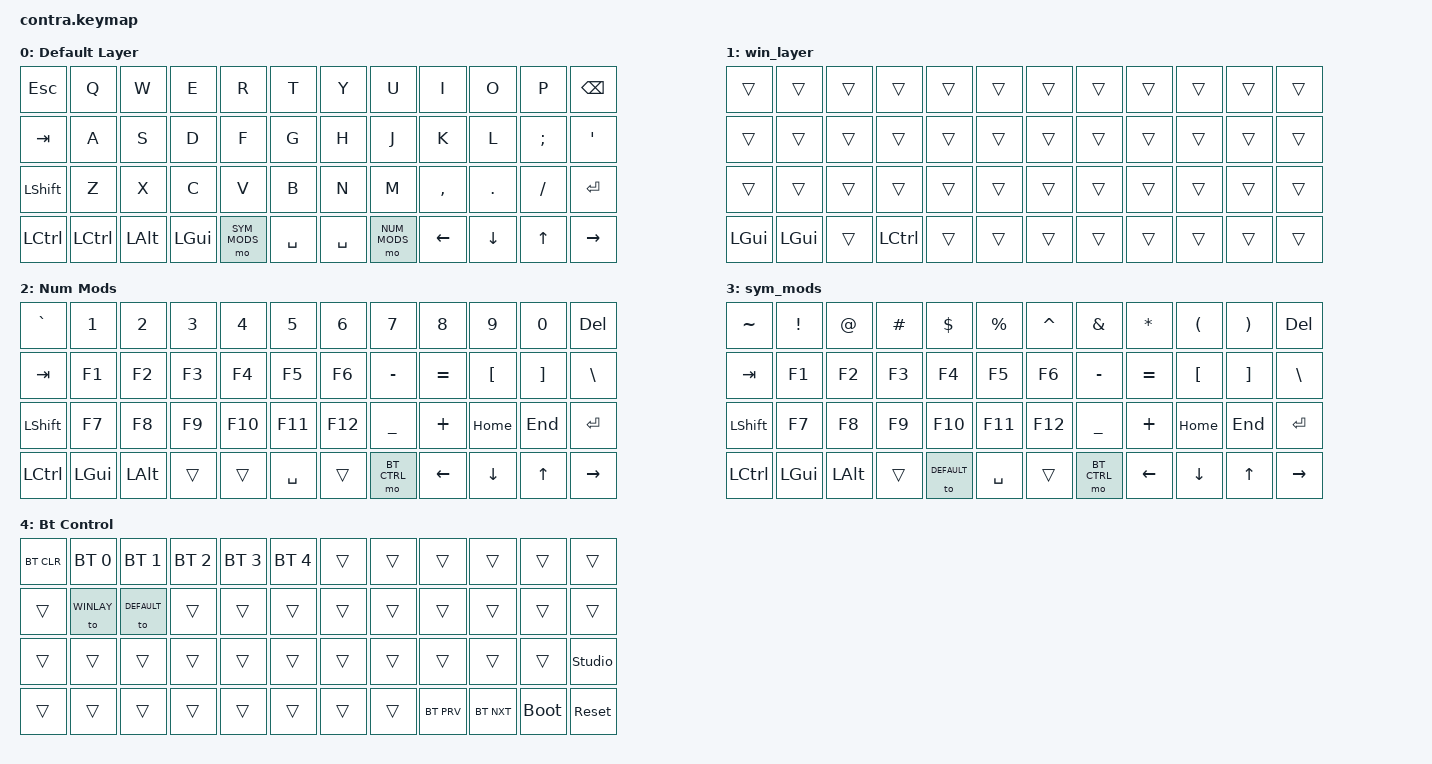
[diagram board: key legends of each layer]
/*
 * Copyright (c) 2021 The ZMK Contributors
 *
 * SPDX-License-Identifier: MIT
 */

#include <behaviors.dtsi>
#include <dt-bindings/zmk/keys.h>
#include <dt-bindings/zmk/bt.h>

#define DEFAULT  0
#define WINLAY   1
#define NUM_MODS 2
#define SYM_MODS 3
#define BT_CTRL  4

/ {
    keymap {
        compatible = "zmk,keymap";

        default_layer {
            display-name = "Default Layer";
            bindings = <
    &kp ESC   &kp Q     &kp W    &kp E     &kp R       &kp T      &kp Y     &kp U        &kp I     &kp O     &kp P    &kp BSPC
    &kp TAB   &kp A     &kp S    &kp D     &kp F       &kp G      &kp H     &kp J        &kp K     &kp L     &kp SEMI &kp SQT
    &kp LSHFT &kp Z     &kp X    &kp C     &kp V       &kp B      &kp N     &kp M        &kp COMMA &kp DOT   &kp FSLH &kp ENTER
    &kp LCTRL &kp LCTRL  &kp LALT &kp LGUI  &mo SYM_MODS &kp SPACE  &kp SPACE  &mo NUM_MODS &kp LEFT  &kp DOWN &kp UP  &kp RIGHT  
            >;
        };

        win_layer {
            bindings = <
    &trans     &trans       &trans       &trans       &trans       &trans       &trans    &trans    &trans     &trans     &trans   &trans
    &trans     &trans       &trans       &trans       &trans       &trans       &trans    &trans    &trans     &trans     &trans   &trans
    &trans     &trans       &trans       &trans       &trans       &trans       &trans    &trans    &trans     &trans     &trans   &trans
    &kp LGUI     &kp LGUI       &trans       &kp LCTRL       &trans       &trans       &trans    &trans    &trans     &trans     &trans   &trans
            >;
        };

        num_mods {
            display-name = "Num Mods";
            bindings = <
    &kp GRAVE &kp N1    &kp N2   &kp N3   &kp N4      &kp N5     &kp N6    &kp N7      &kp N8    &kp N9    &kp N0   &kp DEL
    &kp TAB   &kp F1    &kp F2   &kp F3   &kp F4      &kp F5     &kp F6    &kp MINUS   &kp EQUAL &kp LBKT  &kp RBKT &kp BSLH
    &kp LSHFT &kp F7    &kp F8   &kp F9   &kp F10     &kp F11    &kp F12   &kp UNDER   &kp PLUS &kp HOME  &kp END  &kp ENTER
    &kp LCTRL &kp LGUI  &kp LALT &trans   &trans &kp SPACE  &trans    &mo BT_CTRL &kp LEFT  &kp DOWN &kp UP  &kp RIGHT  
            >;
        };

        sym_mods {
            bindings = <
    &kp TILDE &kp EXCL  &kp AT   &kp HASH &kp DLLR   &kp PRCNT   &kp CARET &kp AMPS    &kp ASTRK &kp LPAR  &kp RPAR &kp DEL
    &kp TAB   &kp F1    &kp F2   &kp F3   &kp F4      &kp F5     &kp F6    &kp MINUS   &kp EQUAL &kp LBKT  &kp RBKT &kp BSLH
    &kp LSHFT &kp F7    &kp F8   &kp F9   &kp F10     &kp F11    &kp F12   &kp UNDER   &kp PLUS &kp HOME  &kp END  &kp ENTER
    &kp LCTRL &kp LGUI  &kp LALT &trans   &to DEFAULT &kp SPACE  &trans    &mo BT_CTRL &kp LEFT  &kp DOWN &kp UP  &kp RIGHT  
            >;
        };

        bt_control {
            display-name = "Bt Control";
            bindings = <
    &bt BT_CLR &bt BT_SEL 0 &bt BT_SEL 1 &bt BT_SEL 2 &bt BT_SEL 3 &bt BT_SEL 4 &trans    &trans    &trans     &trans     &trans   &trans
    &trans     &to WINLAY   &to DEFAULT      &trans       &trans       &trans       &trans    &trans    &trans     &trans     &trans   &trans
    &trans     &trans       &trans       &trans       &trans       &trans       &trans    &trans     &trans     &trans     &trans   &studio_unlock
    &trans     &trans       &trans       &trans       &trans       &trans       &trans    &trans    &bt BT_PRV &bt BT_NXT &bootloader   &sys_reset
            >;
        };
    };
};
